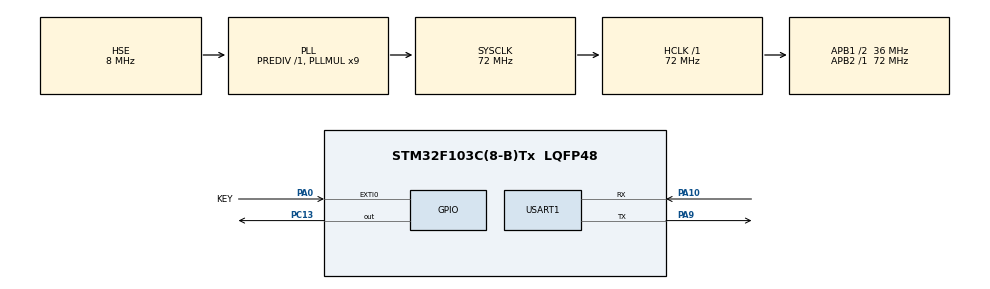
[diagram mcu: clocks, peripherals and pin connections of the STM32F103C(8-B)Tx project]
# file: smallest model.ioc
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Mcu.Family=STM32F1
Mcu.Name=STM32F103C(8-B)Tx
Mcu.Package=LQFP48
NVIC.EXTI0_IRQn=true\:2\:0\:true\:false\:true\:true\:true\:true
NVIC.PriorityGroup=NVIC_PRIORITYGROUP_4
PA0-WKUP.GPIO_Label=KEY
PA0-WKUP.GPIO_ModeDefaultEXTI=GPIO_MODE_IT_FALLING
PA0-WKUP.GPIO_PuPd=GPIO_PULLUP
PA0-WKUP.Signal=GPXTI0
PA10.Mode=Asynchronous
PA10.Signal=USART1_RX
PA13.Mode=Serial_Wire
PA13.Signal=SYS_JTMS-SWDIO
PA14.Mode=Serial_Wire
PA14.Signal=SYS_JTCK-SWCLK
PA9.Mode=Asynchronous
PA9.Signal=USART1_TX
PC13-TAMPER-RTC.GPIO_ModeDefaultOutputPP=GPIO_MODE_OUTPUT_PP
PC13-TAMPER-RTC.GPIO_PuPd=GPIO_NOPULL
PC13-TAMPER-RTC.PinState=GPIO_PIN_SET
PC13-TAMPER-RTC.Signal=GPIO_Output
PD0-OSC_IN.Mode=HSE-External-Oscillator
PD0-OSC_IN.Signal=RCC_OSC_IN
PD1-OSC_OUT.Mode=HSE-External-Oscillator
PD1-OSC_OUT.Signal=RCC_OSC_OUT
ProjectManager.HeapSize=0x200
ProjectManager.StackSize=0x400
ProjectManager.TargetToolchain=MDK-ARM V5.32
RCC.ADCPresc=RCC_ADCPCLK2_DIV6
RCC.AHBFreq_Value=72000000
RCC.APB1CLKDivider=RCC_HCLK_DIV2
RCC.APB1Freq_Value=36000000
RCC.APB1TimFreq_Value=72000000
RCC.APB2Freq_Value=72000000
RCC.APB2TimFreq_Value=72000000
RCC.HCLKFreq_Value=72000000
RCC.PLLMUL=RCC_PLL_MUL9
RCC.PLLSourceVirtual=RCC_PLLSOURCE_HSE
RCC.SYSCLKFreq_VALUE=72000000
RCC.SYSCLKSource=RCC_SYSCLKSOURCE_PLLCLK
RCC.USBFreq_Value=72000000
USART1.VirtualMode=VM_ASYNC
board=custom

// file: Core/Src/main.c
/* USER CODE BEGIN Header */
/**
  ******************************************************************************
  * @file           : main.c
  * @brief          : Main program body
  ******************************************************************************
  * @attention
  *
  * Copyright (c) 2026 STMicroelectronics.
  * All rights reserved.
  *
  * This software is licensed under terms that can be found in the LICENSE file
  * in the root directory of this software component.
  * If no LICENSE file comes with this software, it is provided AS-IS.
  *
  ******************************************************************************
  */
/* USER CODE END Header */
#include "main.h"
#include "usart.h"
#include "gpio.h"

/* USER CODE BEGIN Includes */
#include <stdio.h>
/* USER CODE END Includes */

/* USER CODE BEGIN PV */
volatile uint32_t key_tick = 0;
volatile uint8_t key_mode = 0;
/* USER CODE END PV */

void SystemClock_Config(void);

/* USER CODE BEGIN 0 */
int fputc(int ch, FILE *f)
{
    HAL_UART_Transmit(&huart1, (uint8_t *)&ch, 1, 0xFFFF);
    return ch;
}
/* USER CODE END 0 */

int main(void)
{

  /* MCU Configuration--------------------------------------------------------*/

  /* Reset of all peripherals, Initializes the Flash interface and the Systick. */
  HAL_Init();

  /* Configure the system clock */
  SystemClock_Config();

  /* Initialize all configured peripherals */
  MX_GPIO_Init();
  MX_USART1_UART_Init();

  /* Infinite loop */
  while (1)
  {

    /* USER CODE BEGIN 3 */
		if(key_mode && (HAL_GetTick() - key_tick) > 50)
		{
		   key_mode = 0;
			 HAL_GPIO_TogglePin(GPIOC, GPIO_PIN_13);
			printf ("key pressed \r\n");
		}

		printf("%d ", HAL_GPIO_ReadPin(GPIOA, GPIO_PIN_0));
    HAL_Delay(5);

  }
  /* USER CODE END 3 */
}

void SystemClock_Config(void)
{
  RCC_OscInitTypeDef RCC_OscInitStruct = {0};
  RCC_ClkInitTypeDef RCC_ClkInitStruct = {0};

  /** Initializes the RCC Oscillators according to the specified parameters
  * in the RCC_OscInitTypeDef structure.
  */
  RCC_OscInitStruct.OscillatorType = RCC_OSCILLATORTYPE_HSE;
  RCC_OscInitStruct.HSEState = RCC_HSE_ON;
  RCC_OscInitStruct.HSEPredivValue = RCC_HSE_PREDIV_DIV1;
  RCC_OscInitStruct.HSIState = RCC_HSI_ON;
  RCC_OscInitStruct.PLL.PLLState = RCC_PLL_ON;
  RCC_OscInitStruct.PLL.PLLSource = RCC_PLLSOURCE_HSE;
  RCC_OscInitStruct.PLL.PLLMUL = RCC_PLL_MUL9;
  if (HAL_RCC_OscConfig(&RCC_OscInitStruct) != HAL_OK)
  {
    Error_Handler();
  }

  /** Initializes the CPU, AHB and APB buses clocks
  */
  RCC_ClkInitStruct.ClockType = RCC_CLOCKTYPE_HCLK|RCC_CLOCKTYPE_SYSCLK
                              |RCC_CLOCKTYPE_PCLK1|RCC_CLOCKTYPE_PCLK2;
  RCC_ClkInitStruct.SYSCLKSource = RCC_SYSCLKSOURCE_PLLCLK;
  RCC_ClkInitStruct.AHBCLKDivider = RCC_SYSCLK_DIV1;
  RCC_ClkInitStruct.APB1CLKDivider = RCC_HCLK_DIV2;
  RCC_ClkInitStruct.APB2CLKDivider = RCC_HCLK_DIV1;

  if (HAL_RCC_ClockConfig(&RCC_ClkInitStruct, FLASH_LATENCY_2) != HAL_OK)
  {
    Error_Handler();
  }
}

/* USER CODE BEGIN 4 */
void HAL_GPIO_EXTI_Callback(uint16_t GPIO_Pin)
{
	if(GPIO_Pin == KEY_Pin){
  key_mode = 1;
	key_tick = HAL_GetTick();
	}
}
/* USER CODE END 4 */

void Error_Handler(void)
{
  __disable_irq();
  while (1)
  {
  }
}
